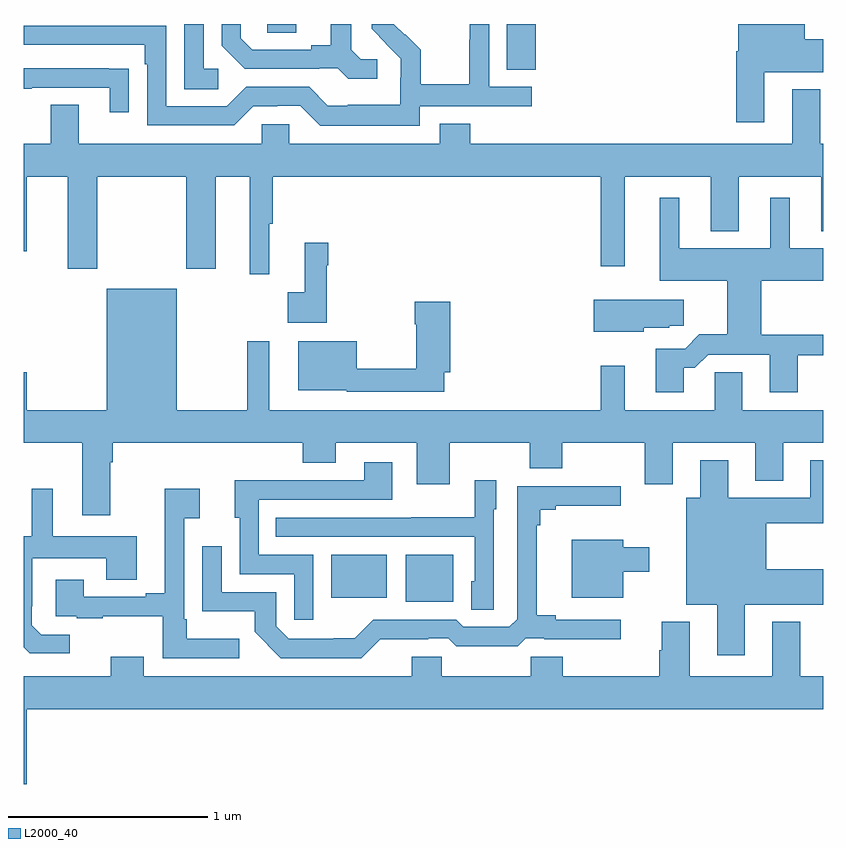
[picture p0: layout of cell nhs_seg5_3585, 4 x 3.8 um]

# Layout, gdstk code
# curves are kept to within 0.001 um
import gdstk
lib = gdstk.Library(unit=1e-6, precision=1e-09)
def R(c, l, rs):  # rectangles x0, y0, x1, y1
    for r in rs: c.add(gdstk.rectangle(r[:2], r[2:], *l))
def P(c, l, *ps):  # polygons
    for p in ps: c.add(gdstk.Polygon(p, *l))
L2000_40 = (2000, 40)

nhs_seg5_3585 = lib.new_cell('nhs_seg5_3585')
R(nhs_seg5_3585, L2000_40, [(322.91,911.909,323.149,912.145), (322.538,911.93,322.816,912.145), (323.417,914.569,323.561,914.799), (322.218,914.755,322.363,914.799)])
P(nhs_seg5_3585, L2000_40, [(324.703,914.558),(325,914.558),(325,914.722),(324.907,914.722),(324.907,914.799),(324.575,914.799),(324.575,914.662),(324.563,914.662),(324.563,914.307),(324.703,914.307)],
  [(322.98,914.388),(323.542,914.388),(323.542,914.484),(323.328,914.484),(323.328,914.799),(323.232,914.799),(323.232,914.72),(323.23,914.72),(323.23,914.497),(322.985,914.497),(322.985,914.671),(322.908,914.748),(322.905,914.745),(322.852,914.799),(322.74,914.799),(322.74,914.774),(322.886,914.626),(322.886,914.529),(322.884,914.529),(322.884,914.395),(322.621,914.395),(322.621,914.391),(322.521,914.391),(322.428,914.484),(322.113,914.484),(322.017,914.388),(321.714,914.388),(321.714,914.79),(321,914.79),(321,914.694),(321.605,914.694),(321.605,914.597),(321.618,914.597),(321.618,914.292),(322.053,914.292),(322.149,914.388),(322.268,914.388),(322.268,914.391),(322.383,914.391),(322.483,914.291),(322.98,914.291)],
  [(321.973,914.574),(321.9,914.574),(321.9,914.799),(321.804,914.799),(321.804,914.473),(321.973,914.473)],
  [(322.768,914.622),(322.686,914.622),(322.639,914.669),(322.639,914.799),(322.535,914.799),(322.535,914.693),(322.439,914.693),(322.439,914.67),(322.144,914.67),(322.087,914.727),(322.087,914.799),(321.99,914.799),(321.99,914.69),(322.106,914.574),(322.478,914.574),(322.478,914.577),(322.572,914.577),(322.624,914.525),(322.768,914.525)],
  [(321.527,914.576),(321.425,914.576),(321.425,914.577),(321,914.577),(321,914.476),(321.041,914.476),(321.041,914.481),(321.431,914.481),(321.431,914.358),(321.527,914.358)],
  [(322.229,913.8),(322.247,913.8),(322.247,914.036),(323.886,914.036),(323.886,913.587),(324.007,913.587),(324.007,914.036),(324.437,914.036),(324.437,913.763),(324.577,913.763),(324.577,914.036),(324.989,914.036),(324.989,913.763),(325,913.763),(325,914.2),(324.985,914.2),(324.985,914.473),(324.845,914.473),(324.845,914.2),(323.234,914.2),(323.234,914.299),(323.081,914.299),(323.081,914.2),(322.329,914.2),(322.329,914.298),(322.191,914.298),(322.191,914.2),(321.277,914.2),(321.277,914.395),(321.137,914.395),(321.137,914.2),(321,914.2),(321,913.662),(321.016,913.662),(321.016,914.036),(321.221,914.036),(321.221,913.575),(321.369,913.575),(321.369,914.036),(321.814,914.036),(321.814,913.575),(321.961,913.575),(321.961,914.036),(322.13,914.036),(322.13,913.548),(322.229,913.548)],
  [(324.301,913.079),(324.356,913.079),(324.423,913.146),(324.731,913.146),(324.731,912.957),(324.871,912.957),(324.871,913.143),(325,913.143),(325,913.244),(324.689,913.244),(324.689,913.514),(325,913.514),(325,913.678),(324.832,913.678),(324.832,913.93),(324.734,913.93),(324.734,913.678),(324.28,913.678),(324.28,913.93),(324.182,913.93),(324.182,913.514),(324.518,913.514),(324.518,913.247),(324.38,913.247),(324.309,913.176),(324.161,913.176),(324.161,912.957),(324.301,912.957)],
  [(322.516,913.592),(322.523,913.592),(322.523,913.705),(322.406,913.705),(322.406,913.457),(322.32,913.457),(322.32,913.304),(322.516,913.304)],
  [(324.659,912.515),(324.799,912.515),(324.799,912.704),(325,912.704),(325,912.868),(324.595,912.868),(324.595,913.058),(324.456,913.058),(324.456,912.868),(324.007,912.868),(324.007,913.09),(323.886,913.09),(323.886,912.868),(322.228,912.868),(322.228,913.213),(322.119,913.213),(322.119,912.868),(321.766,912.868),(321.766,913.474),(321.416,913.474),(321.416,912.868),(321.016,912.868),(321.016,913.057),(321,913.057),(321,912.704),(321.293,912.704),(321.293,912.342),(321.433,912.342),(321.433,912.608),(321.446,912.608),(321.446,912.704),(322.397,912.704),(322.397,912.605),(322.561,912.605),(322.561,912.704),(322.967,912.704),(322.967,912.498),(323.131,912.498),(323.131,912.704),(323.531,912.704),(323.531,912.576),(323.695,912.576),(323.695,912.704),(324.107,912.704),(324.107,912.498),(324.247,912.498),(324.247,912.704),(324.659,912.704)],
  [(324.102,913.28),(324.228,913.28),(324.228,913.291),(324.301,913.291),(324.301,913.42),(323.852,913.42),(323.852,913.259),(324.102,913.259)],
  [(323.105,913.058),(323.135,913.058),(323.135,913.411),(322.957,913.411),(322.957,913.298),(322.964,913.298),(322.964,913.076),(322.666,913.076),(322.666,913.213),(322.373,913.213),(322.373,912.968),(322.617,912.968),(322.617,912.96),(323.105,912.96)],
  [(324.607,911.894),(325,911.894),(325,912.073),(324.715,912.073),(324.715,912.302),(325,912.302),(325,912.616),(324.935,912.616),(324.935,912.43),(324.523,912.43),(324.523,912.616),(324.383,912.616),(324.383,912.43),(324.314,912.43),(324.314,911.894),(324.47,911.894),(324.47,911.643),(324.607,911.643)],
  [(322.449,912.144),(322.176,912.144),(322.176,912.42),(322.843,912.42),(322.843,912.607),(322.703,912.607),(322.703,912.516),(322.273,912.516),(322.273,912.518),(322.055,912.518),(322.055,912.33),(322.08,912.33),(322.08,912.048),(322.353,912.048),(322.353,911.82),(322.449,911.82)],
  [(323.352,912.372),(323.365,912.372),(323.365,912.517),(323.256,912.517),(323.256,912.331),(322.939,912.331),(322.939,912.33),(322.261,912.33),(322.261,912.234),(323.256,912.234),(323.256,912.012),(323.24,912.012),(323.24,911.869),(323.352,911.869)],
  [(322.784,911.723),(323.024,911.723),(323.024,911.727),(323.124,911.727),(323.164,911.688),(323.471,911.688),(323.511,911.727),(323.605,911.727),(323.605,911.723),(323.986,911.723),(323.986,911.82),(323.662,911.82),(323.662,911.843),(323.566,911.843),(323.566,912.293),(323.585,912.293),(323.585,912.37),(323.662,912.37),(323.662,912.389),(323.986,912.389),(323.986,912.486),(323.469,912.486),(323.469,911.823),(323.43,911.784),(323.199,911.784),(323.163,911.82),(322.749,911.82),(322.655,911.726),(322.55,911.726),(322.55,911.724),(322.326,911.724),(322.263,911.787),(322.263,911.958),(321.99,911.958),(321.99,912.187),(321.894,912.187),(321.894,911.861),(322.156,911.861),(322.156,911.759),(322.286,911.628),(322.689,911.628)],
  [(321.232,911.745),(321.087,911.745),(321.04,911.792),(321.04,911.887),(321.042,911.887),(321.042,912.128),(321.413,912.128),(321.413,912.019),(321.565,912.019),(321.565,912.238),(321.145,912.238),(321.145,912.475),(321.041,912.475),(321.041,912.236),(321,912.236),(321,911.682),(321.031,911.651),(321.232,911.651)],
  [(322.078,911.725),(321.817,911.725),(321.817,911.821),(321.804,911.821),(321.804,912.326),(321.88,912.326),(321.88,912.475),(321.707,912.475),(321.707,911.953),(321.611,911.953),(321.611,911.934),(321.301,911.934),(321.301,912.019),(321.161,912.019),(321.161,911.838),(321.265,911.838),(321.265,911.826),(321.397,911.826),(321.397,911.837),(321.696,911.837),(321.696,911.628),(322.078,911.628)],
  [(323.998,912.059),(324.13,912.059),(324.13,912.181),(323.998,912.181),(323.998,912.22),(323.741,912.22),(323.741,911.93),(323.998,911.93)],
  [(321.016,911.372),(325,911.372),(325,911.536),(324.883,911.536),(324.883,911.809),(324.743,911.809),(324.743,911.536),(324.331,911.536),(324.331,911.809),(324.191,911.809),(324.191,911.667),(324.179,911.667),(324.179,911.536),(323.696,911.536),(323.696,911.634),(323.536,911.634),(323.536,911.536),(323.091,911.536),(323.091,911.634),(322.94,911.634),(322.94,911.536),(321.601,911.536),(321.601,911.635),(321.437,911.635),(321.437,911.536),(321,911.536),(321,910.998),(321.016,910.998)])

lib.write_gds('nhs_seg5_3585.gds')
